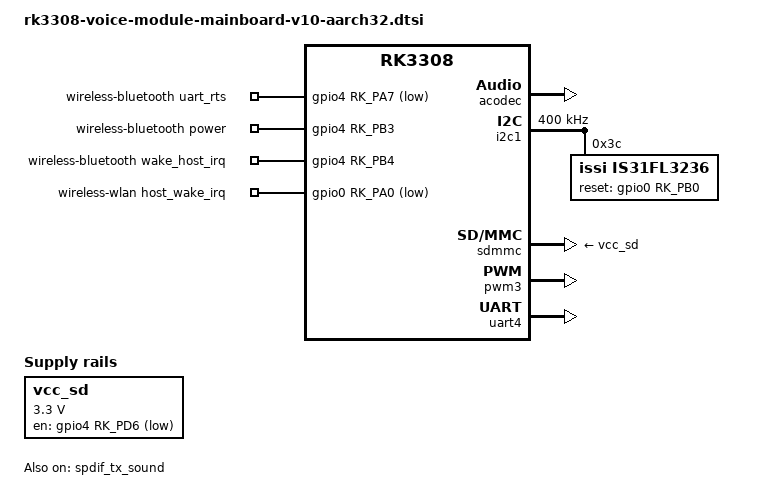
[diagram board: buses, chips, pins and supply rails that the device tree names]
// SPDX-License-Identifier: (GPL-2.0+ OR MIT)
/*
 * Copyright (c) 2018 Fuzhou Rockchip Electronics Co., Ltd
 */

/ {
	vcc_sd: vcc-sd {
		compatible = "regulator-fixed";
		gpio = <&gpio4 RK_PD6 GPIO_ACTIVE_LOW>;
		regulator-name = "vcc_sd";
		regulator-min-microvolt = <3300000>;
		regulator-max-microvolt = <3300000>;
	};

	wireless-bluetooth {
		compatible = "bluetooth-platdata";
		uart_rts_gpios = <&gpio4 RK_PA7 GPIO_ACTIVE_LOW>;
		pinctrl-names = "default", "rts_gpio";
		pinctrl-0 = <&uart4_rts>;
		pinctrl-1 = <&uart4_rts_gpio>;
		BT,power_gpio    = <&gpio4 RK_PB3 GPIO_ACTIVE_HIGH>;
		BT,wake_host_irq = <&gpio4 RK_PB4 GPIO_ACTIVE_HIGH>;
		status = "okay";
	};

	wireless-wlan {
		compatible = "wlan-platdata";
		rockchip,grf = <&grf>;
		clocks = <&cru SCLK_WIFI>;
		clock-names = "clk_wifi";
		ref-clock-frequency = <24000000>;
		pinctrl-names = "default";
		pinctrl-0 = <&wifi_wake_host>, <&rtc_32k>;
		wifi_chip_type = "rtl8723ds";
		WIFI,host_wake_irq = <&gpio0 RK_PA0 GPIO_ACTIVE_LOW>;
		status = "okay";
	};
};

&acodec {
	status = "okay";
	rockchip,no-deep-low-power;
	/* ADC3-6 for 4ch capture, loopback to ADC7 */
	rockchip,adc-grps-route = <2 3 1 0>;
};

&i2c1 {
	clock-frequency = <400000>;
	status = "okay";

	is31fl3236: led-controller@3c {
		compatible = "issi,is31fl3236";
		reg = <0x3c>;
		#address-cells = <1>;
		#size-cells = <0>;
		reset-gpios = <&gpio0 RK_PB0 GPIO_ACTIVE_HIGH>;
		status = "okay";

		led1: led@1 {
			label = "led1";
			reg = <1>;
			led-max-microamp = <10000>;
			linux,default-trigger = "timer";
			linux,default-trigger-delay-ms = <0>;
			linux,blink-delay-on-ms = <100>;
			linux,blink-delay-off-ms = <1200>;
		};

		led2: led@2 {
			label = "led2";
			reg = <2>;
			led-max-microamp = <10000>;
			linux,default-trigger = "timer";
			linux,default-trigger-delay-ms = <0>;
			linux,blink-delay-on-ms = <100>;
			linux,blink-delay-off-ms = <1200>;
		};

		led3: led@3 {
			label = "led3";
			reg = <3>;
			led-max-microamp = <10000>;
			linux,default-trigger = "default-on";
		};

		led4: led@4 {
			label = "led4";
			reg = <4>;
			led-max-microamp = <10000>;
			linux,default-trigger = "timer";
			linux,default-trigger-delay-ms = <100>;
			linux,blink-delay-on-ms = <100>;
			linux,blink-delay-off-ms = <1200>;
		};

		led5: led@5 {
			label = "led5";
			reg = <5>;
			led-max-microamp = <10000>;
			linux,default-trigger = "timer";
			linux,default-trigger-delay-ms = <100>;
			linux,blink-delay-on-ms = <100>;
			linux,blink-delay-off-ms = <1200>;
		};

		led6: led@6 {
			label = "led6";
			reg = <6>;
			led-max-microamp = <10000>;
			linux,default-trigger = "default-on";
		};

		led7: led@7 {
			label = "led7";
			reg = <7>;
			led-max-microamp = <10000>;
			linux,default-trigger = "timer";
			linux,default-trigger-delay-ms = <200>;
			linux,blink-delay-on-ms = <100>;
			linux,blink-delay-off-ms = <1200>;
		};

		led8: led@8 {
			label = "led8";
			reg = <8>;
			led-max-microamp = <10000>;
			linux,default-trigger = "timer";
			linux,default-trigger-delay-ms = <200>;
			linux,blink-delay-on-ms = <100>;
			linux,blink-delay-off-ms = <1200>;
		};

		led9: led@9 {
			label = "led9";
			reg = <9>;
			led-max-microamp = <10000>;
			linux,default-trigger = "default-on";
		};

		led10: led@10 {
			label = "led10";
			reg = <10>;
			led-max-microamp = <10000>;
			linux,default-trigger = "timer";
			linux,default-trigger-delay-ms = <300>;
			linux,blink-delay-on-ms = <100>;
			linux,blink-delay-off-ms = <1200>;
		};

		led11: led@11 {
			label = "led11";
			reg = <11>;
			led-max-microamp = <10000>;
			linux,default-trigger = "timer";
			linux,default-trigger-delay-ms = <300>;
			linux,blink-delay-on-ms = <100>;
			linux,blink-delay-off-ms = <1200>;
		};

		led12: led@12 {
			label = "led12";
			reg = <12>;
			led-max-microamp = <10000>;
			linux,default-trigger = "default-on";
		};

		led13: led@13 {
			label = "led13";
			reg = <13>;
			led-max-microamp = <10000>;
			linux,default-trigger = "timer";
			linux,default-trigger-delay-ms = <400>;
			linux,blink-delay-on-ms = <100>;
			linux,blink-delay-off-ms = <1200>;
		};

		led14: led@14 {
			label = "led14";
			reg = <14>;
			led-max-microamp = <10000>;
			linux,default-trigger = "timer";
			linux,default-trigger-delay-ms = <400>;
			linux,blink-delay-on-ms = <100>;
			linux,blink-delay-off-ms = <1200>;
		};

		led15: led@15 {
			label = "led15";
			reg = <15>;
			led-max-microamp = <10000>;
			linux,default-trigger = "default-on";
		};

		led16: led@16 {
			label = "led16";
			reg = <16>;
			led-max-microamp = <10000>;
			linux,default-trigger = "timer";
			linux,default-trigger-delay-ms = <500>;
			linux,blink-delay-on-ms = <100>;
			linux,blink-delay-off-ms = <1200>;
		};

		led17: led@17 {
			label = "led17";
			reg = <17>;
			led-max-microamp = <10000>;
			linux,default-trigger = "timer";
			linux,default-trigger-delay-ms = <500>;
			linux,blink-delay-on-ms = <100>;
			linux,blink-delay-off-ms = <1200>;
		};

		led18: led@18 {
			label = "led18";
			reg = <18>;
			led-max-microamp = <10000>;
			linux,default-trigger = "default-on";
		};

		led19: led@19 {
			label = "led19";
			reg = <19>;
			led-max-microamp = <10000>;
			linux,default-trigger = "timer";
			linux,default-trigger-delay-ms = <600>;
			linux,blink-delay-on-ms = <100>;
			linux,blink-delay-off-ms = <1200>;
		};

		led20: led@20 {
			label = "led20";
			reg = <20>;
			led-max-microamp = <10000>;
			linux,default-trigger = "timer";
			linux,default-trigger-delay-ms = <600>;
			linux,blink-delay-on-ms = <100>;
			linux,blink-delay-off-ms = <1200>;
		};

		led21: led@21 {
			label = "led21";
			reg = <21>;
			led-max-microamp = <10000>;
			linux,default-trigger = "default-on";
		};

		led22: led@22 {
			label = "led22";
			reg = <22>;
			led-max-microamp = <10000>;
			linux,default-trigger = "timer";
			linux,default-trigger-delay-ms = <700>;
			linux,blink-delay-on-ms = <100>;
			linux,blink-delay-off-ms = <1200>;
		};

		led23: led@23 {
			label = "led23";
			reg = <23>;
			led-max-microamp = <10000>;
			linux,default-trigger = "timer";
			linux,default-trigger-delay-ms = <700>;
			linux,blink-delay-on-ms = <100>;
			linux,blink-delay-off-ms = <1200>;
		};

		led124: led@24 {
			label = "led24";
			reg = <24>;
			led-max-microamp = <10000>;
			linux,default-trigger = "default-on";
		};

		led25: led@25 {
			label = "led25";
			reg = <25>;
			led-max-microamp = <10000>;
			linux,default-trigger = "timer";
			linux,default-trigger-delay-ms = <800>;
			linux,blink-delay-on-ms = <100>;
			linux,blink-delay-off-ms = <1200>;
		};

		led26: led@26 {
			label = "led26";
			reg = <26>;
			led-max-microamp = <10000>;
			linux,default-trigger = "timer";
			linux,default-trigger-delay-ms = <800>;
			linux,blink-delay-on-ms = <100>;
			linux,blink-delay-off-ms = <1200>;
		};

		led27: led@27 {
			label = "led27";
			reg = <27>;
			led-max-microamp = <10000>;
			linux,default-trigger = "default-on";
		};

		led28: led@28 {
			label = "led28";
			reg = <28>;
			led-max-microamp = <10000>;
			linux,default-trigger = "timer";
			linux,default-trigger-delay-ms = <900>;
			linux,blink-delay-on-ms = <100>;
			linux,blink-delay-off-ms = <1200>;
		};

		led29: led@29 {
			label = "led29";
			reg = <29>;
			led-max-microamp = <10000>;
			linux,default-trigger = "timer";
			linux,default-trigger-delay-ms = <900>;
			linux,blink-delay-on-ms = <100>;
			linux,blink-delay-off-ms = <1200>;
		};

		led30: led@30 {
			label = "led30";
			reg = <30>;
			led-max-microamp = <10000>;
			linux,default-trigger = "default-on";
		};

		led31: led@31 {
			label = "led31";
			reg = <31>;
			led-max-microamp = <10000>;
			linux,default-trigger = "timer";
			linux,default-trigger-delay-ms = <1000>;
			linux,blink-delay-on-ms = <100>;
			linux,blink-delay-off-ms = <1200>;
		};

		led32: led@32 {
			label = "led32";
			reg = <32>;
			led-max-microamp = <10000>;
			linux,default-trigger = "timer";
			linux,default-trigger-delay-ms = <1000>;
			linux,blink-delay-on-ms = <100>;
			linux,blink-delay-off-ms = <1200>;
		};

		led33: led@33 {
			label = "led33";
			reg = <33>;
			led-max-microamp = <10000>;
			linux,default-trigger = "default-on";
		};

		led34: led@34 {
			label = "led34";
			reg = <34>;
			led-max-microamp = <10000>;
			linux,default-trigger = "timer";
			linux,default-trigger-delay-ms = <1100>;
			linux,blink-delay-on-ms = <100>;
			linux,blink-delay-off-ms = <1200>;
		};

		led35: led@35 {
			label = "led35";
			reg = <35>;
			led-max-microamp = <10000>;
			linux,default-trigger = "timer";
			linux,default-trigger-delay-ms = <1100>;
			linux,blink-delay-on-ms = <100>;
			linux,blink-delay-off-ms = <1200>;
		};

		led36: led@36 {
			label = "led36";
			reg = <36>;
			led-max-microamp = <10000>;
			linux,default-trigger = "default-on";
		};
	};
};

&sdmmc {
	vmmc-supply = <&vcc_sd>;
};

&spdif_tx_sound {
	status = "okay";
};

&pwm3 {
	status = "okay";
	/* Used for IR */
};

&uart4 {
	pinctrl-names = "default";
	pinctrl-0 = <&uart4_xfer &uart4_cts>;
	status = "okay";
};
